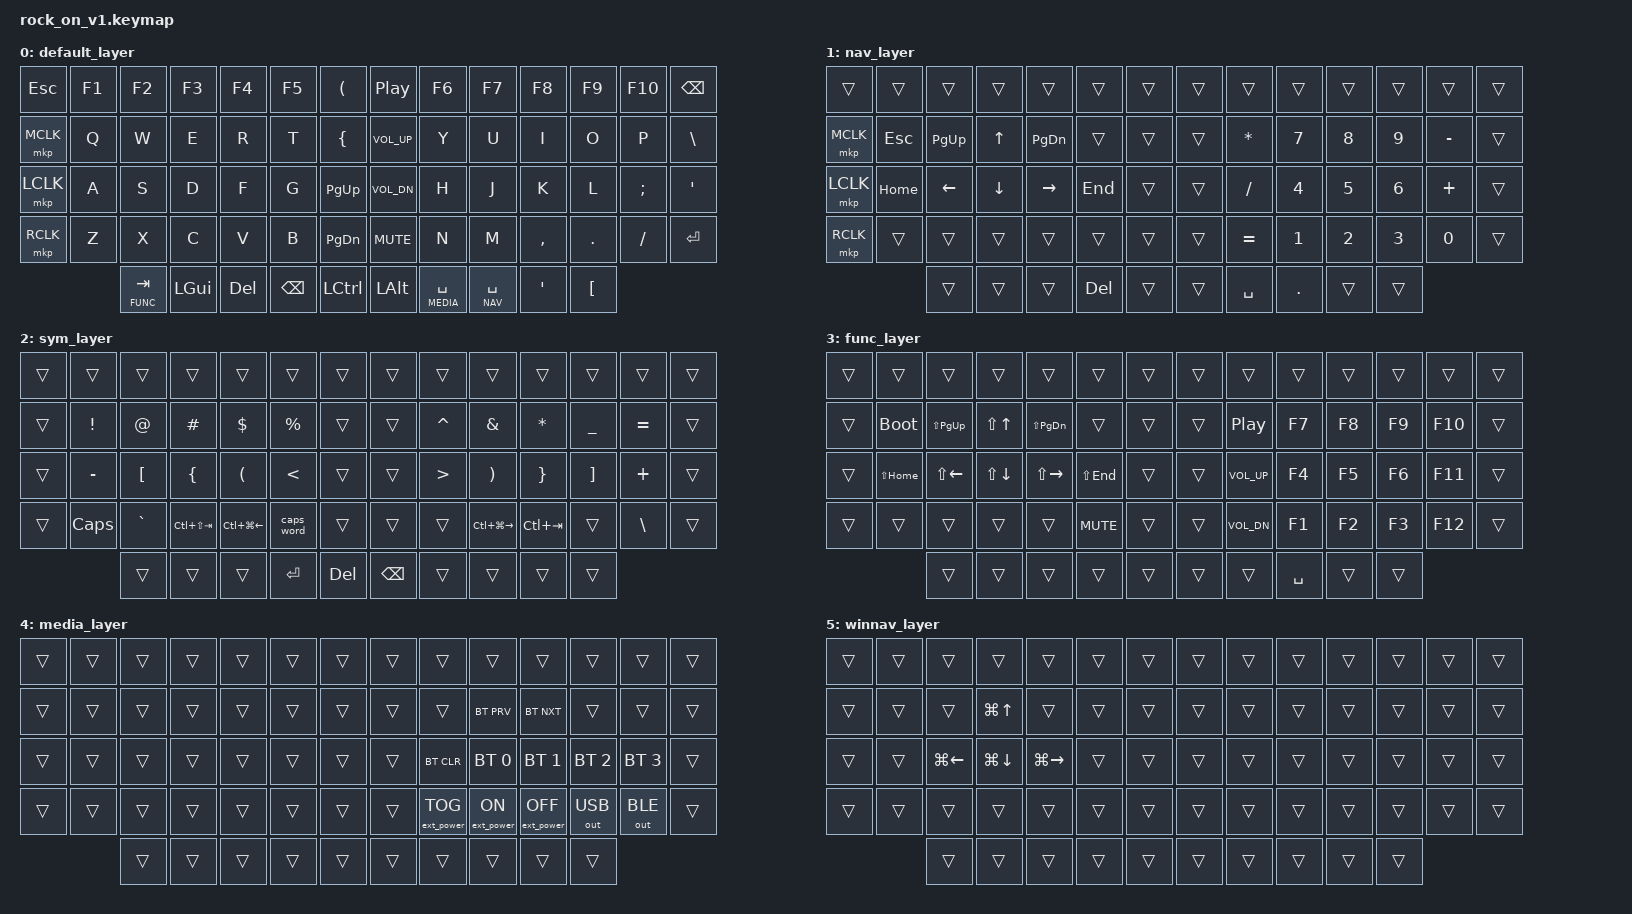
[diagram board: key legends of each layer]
#include <behaviors.dtsi>
#include <dt-bindings/zmk/keys.h>
#include <dt-bindings/zmk/bt.h>
#include <dt-bindings/zmk/ext_power.h>
#include <dt-bindings/zmk/outputs.h>
#include <dt-bindings/zmk/mouse.h>
#include <behaviors/mouse_keys.dtsi>

#define DEFAULT 0
#define NAV     1
#define SYM     2
#define FUNC    3
#define MEDIA   4
#define WINNAV  5

&caps_word {
    continue-list = <UNDERSCORE MINUS>;
};

/ {
    combos {
        compatible = "zmk,combos";
        combo_undo {
            timeout-ms = <50>;
            key-positions = <44 45>;
            bindings = <&kp LC(Z)>;
        };
    };
};

/ {
    behaviors {
        hm: homerow_mods {
            compatible = "zmk,behavior-hold-tap";
            #binding-cells = <2>;
            tapping-term-ms = <200>;
            flavor = "tap-preferred";
            bindings = <&kp>, <&kp>;
        };
        hs: homerow_shift {
            compatible = "zmk,behavior-hold-tap";
            #binding-cells = <2>;
            tapping-term-ms = <175>;
            flavor = "balanced";
            bindings = <&kp>, <&kp>;
        };
    };


    keymap {
        compatible = "zmk,keymap";

        default_layer {
            bindings = <
    &kp ESC    &kp F1      &kp F2      &kp F3      &kp F4        &kp F5       &kp LPAR      &kp C_PLAY_PAUSE        &kp F6           &kp F7         &kp F8        &kp F9     &kp F10  &kp BSPC
    &mkp MCLK  &kp Q       &kp W       &kp E       &kp R         &kp T        &kp LBRC      &kp K_VOL_UP        &kp Y            &kp U          &kp I         &kp O      &kp P    &kp BSLH
    &mkp LCLK  &kp A       &kp S       &kp D       &kp F         &kp G        &kp PG_UP     &kp K_VOL_DN        &kp H            &kp J          &kp K         &kp L      &kp SEMI &kp SQT
    &mkp RCLK  &kp Z       &kp X       &kp C       &kp V         &kp B        &kp PG_DN     &kp C_MUTE        &kp N            &kp M          &kp COMMA     &kp DOT   &kp FSLH  &kp RET
                           &lt FUNC TAB    &kp LGUI    &kp DEL   &kp BSPC  &kp LCTL                &kp LALT        &hm MEDIA SPACE  &hm NAV SPACE  &kp SQT       &kp LBKT
            >;
        };

        nav_layer {
            bindings = <
    &trans     &trans       &trans       &trans      &trans        &trans      &trans               &trans     &trans        &trans       &trans        &trans      &trans      &trans
    &mkp MCLK  &kp ESC      &kp PG_UP    &kp UP      &kp PG_DN     &trans      &trans               &trans     &kp ASTRK     &kp N7       &kp N8        &kp N9      &kp MINUS   &trans
    &mkp LCLK  &kp HOME     &kp LEFT     &kp DOWN    &kp RIGHT     &kp END     &trans               &trans     &kp FSLH      &kp N4       &kp N5        &kp N6      &kp PLUS    &trans
    &mkp RCLK  &trans       &trans       &trans      &trans        &trans      &trans               &trans     &kp EQUAL     &kp N1       &kp N2        &kp N3      &kp N0      &trans
                            &trans       &trans      &trans        &kp DEL     &trans               &trans   &kp SPACE     &kp DOT      &trans        &trans
            >;
        };

        sym_layer {
            bindings = <
    &trans     &trans       &trans       &trans          &trans           &trans        &trans         &trans         &trans        &trans            &trans        &trans      &trans      &trans
    &trans     &kp EXCL     &kp AT       &kp HASH        &kp DLLR         &kp PRCNT     &trans         &trans         &kp CARET     &kp AMPS          &kp ASTRK     &kp UNDER   &kp EQUAL   &trans
    &trans     &kp MINUS    &kp LBKT     &kp LBRC        &kp LPAR         &kp LT        &trans         &trans         &kp GT        &kp RPAR          &kp RBRC      &kp RBKT    &kp PLUS    &trans
    &trans     &kp CAPS     &kp GRAVE    &kp LC(LS(TAB)) &kp LC(LG(LEFT)) &caps_word    &trans         &trans         &trans        &kp LC(LG(RIGHT)) &kp LC(TAB)   &trans      &kp BSLH    &trans
                            &trans       &trans          &trans           &kp RET       &kp DEL        &kp BSPC       &trans        &trans            &trans        &trans
            >;
        };

        func_layer {
            bindings = <
    &trans     &trans       &trans        &trans       &trans        &trans        &trans             &trans     &trans           &trans       &trans        &trans      &trans      &trans
    &trans     &bootloader  &kp LS(PG_UP) &kp LS(UP)   &kp LS(PG_DN) &trans        &trans             &trans     &kp C_PLAY_PAUSE &kp F7       &kp F8        &kp F9      &kp F10     &trans
    &trans     &kp LS(HOME) &kp LS(LEFT)  &kp LS(DOWN) &kp LS(RIGHT) &kp LS(END)   &trans             &trans     &kp K_VOL_UP     &kp F4       &kp F5        &kp F6      &kp F11     &trans
    &trans     &trans       &trans        &trans       &trans        &kp C_MUTE    &trans             &trans     &kp K_VOL_DN     &kp F1       &kp F2        &kp F3      &kp F12     &trans
                            &trans        &trans       &trans        &trans        &trans             &trans     &trans           &kp SPACE    &trans        &trans
            >;
        };

        media_layer {
            bindings = <
    &trans     &trans      &trans         &trans       &trans        &trans        &trans             &trans     &trans             &trans            &trans             &trans         &trans          &trans
    &trans     &trans      &trans         &trans       &trans        &trans        &trans             &trans     &trans             &bt BT_PRV        &bt BT_NXT         &trans         &trans          &trans
    &trans     &trans      &trans         &trans       &trans        &trans        &trans             &trans     &bt BT_CLR         &bt BT_SEL 0      &bt BT_SEL 1       &bt BT_SEL 2   &bt BT_SEL 3    &trans
    &trans     &trans      &trans         &trans       &trans        &trans        &trans             &trans     &ext_power EP_TOG  &ext_power EP_ON  &ext_power EP_OFF  &out OUT_USB   &out OUT_BLE    &trans
                           &trans         &trans       &trans        &trans        &trans             &trans     &trans             &trans            &trans             &trans
            >;
        };

        winnav_layer {
            bindings = <
    &trans     &trans       &trans       &trans       &trans        &trans        &trans             &trans     &trans      &trans      &trans      &trans      &trans      &trans
    &trans     &trans       &trans       &kp LG(UP)   &trans        &trans        &trans             &trans     &trans      &trans      &trans      &trans      &trans      &trans
    &trans     &trans       &kp LG(LEFT) &kp LG(DOWN) &kp LG(RIGHT) &trans        &trans             &trans     &trans      &trans      &trans      &trans      &trans      &trans
    &trans     &trans       &trans       &trans       &trans        &trans        &trans             &trans     &trans      &trans      &trans      &trans      &trans      &trans
                            &trans       &trans       &trans        &trans        &trans             &trans     &trans      &trans      &trans      &trans
            >;
        };
    };
};
